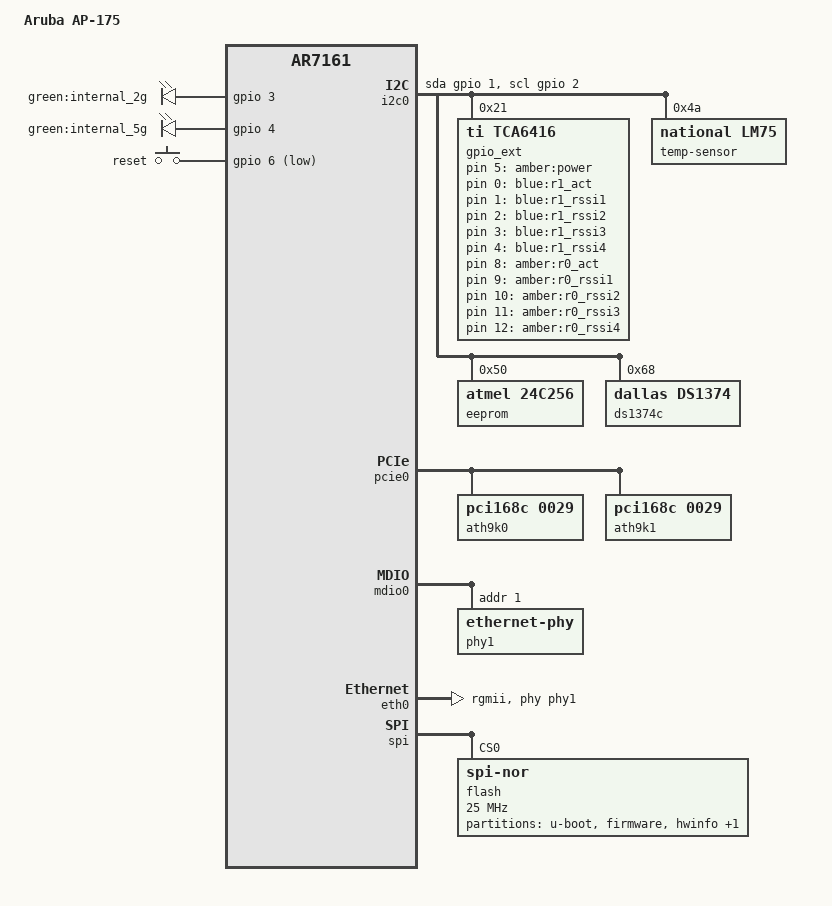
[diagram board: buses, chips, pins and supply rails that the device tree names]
// SPDX-License-Identifier: GPL-2.0-or-later OR MIT

#include "ar7100.dtsi"

#include <dt-bindings/gpio/gpio.h>
#include <dt-bindings/input/input.h>

/ {
	compatible = "aruba,ap-175", "qca,ar7161";
	model = "Aruba AP-175";

	chosen {
		bootargs = "console=ttyS0,115200";
	};

	aliases {
		led-boot = &led_power_amber;
		led-failsafe = &led_power_amber;
		led-upgrade = &led_power_amber;
		label-mac-device = &eth0;
	};

	leds {
		compatible = "gpio-leds";

		/* These internal LEDs cannot be seen when case is closed */
		internal_2g_green {
			label = "green:internal_2g";
			gpios = <&gpio 3 GPIO_ACTIVE_HIGH>;
		};

		internal_5g_green {
			label = "green:internal_5g";
			gpios = <&gpio 4 GPIO_ACTIVE_HIGH>;
		};

        /* These external LEDs are visible from the bottom panel */

		led_power_amber: power_amber {
			label = "amber:power";
			gpios = <&gpio_ext 5 GPIO_ACTIVE_HIGH>;
			panic-indicator;
		};

		r1_act_blue {
			label = "blue:r1_act";
			gpios = <&gpio_ext 0 GPIO_ACTIVE_HIGH>;
			linux,default-trigger = "phy1tpt";
		};

		r1_rssi1_blue {
			label = "blue:r1_rssi1";
			gpios = <&gpio_ext 1 GPIO_ACTIVE_HIGH>;
		};

		r1_rssi2_blue {
			label = "blue:r1_rssi2";
			gpios = <&gpio_ext 2 GPIO_ACTIVE_HIGH>;
		};

		r1_rssi3_blue {
			label = "blue:r1_rssi3";
			gpios = <&gpio_ext 3 GPIO_ACTIVE_HIGH>;
		};

		r1_rssi4_blue {
			label = "blue:r1_rssi4";
			gpios = <&gpio_ext 4 GPIO_ACTIVE_HIGH>;
		};

		r0_act_amber {
			label = "amber:r0_act";
			gpios = <&gpio_ext 8 GPIO_ACTIVE_HIGH>;
			linux,default-trigger = "phy0tpt";
		};

		r0_rssi1_amber {
			label = "amber:r0_rssi1";
			gpios = <&gpio_ext 9 GPIO_ACTIVE_HIGH>;
		};

		r0_rssi2_amber {
			label = "amber:r0_rssi2";
			gpios = <&gpio_ext 10 GPIO_ACTIVE_HIGH>;
		};

		r0_rssi3_amber {
			label = "amber:r0_rssi3";
			gpios = <&gpio_ext 11 GPIO_ACTIVE_HIGH>;
		};

		r0_rssi4_amber {
			label = "amber:r0_rssi4";
			gpios = <&gpio_ext 12 GPIO_ACTIVE_HIGH>;
		};
	};

	keys {
		compatible = "gpio-keys";

		reset {
			label = "reset";
			linux,code = <KEY_RESTART>;
			gpios = <&gpio 6 GPIO_ACTIVE_LOW>;
		};
	};

	i2c0: i2c {
		compatible = "i2c-gpio";
		i2c-gpio,delay-us = <10>;
		i2c-gpio,timeout-ms = <1>;
		sda-gpios = <&gpio 1 (GPIO_ACTIVE_HIGH|GPIO_OPEN_DRAIN)>;
		scl-gpios = <&gpio 2 (GPIO_ACTIVE_HIGH|GPIO_OPEN_DRAIN)>;

		#address-cells = <1>;
		#size-cells = <0>;
	};
};

&pcie0 {
	status = "okay";

	ath9k0: wifi@0,11 {
		compatible = "pci168c,0029";
		nvmem-cells = <&macaddr_hwinfo_1c>;
		nvmem-cell-names = "mac-address";
		mac-address-increment = <1>;
		reg = <0x8800 0 0 0 0>;
		#gpio-cells = <2>;
		gpio-controller;
	};

	ath9k1: wifi@0,12 {
		compatible = "pci168c,0029";
		nvmem-cells = <&macaddr_hwinfo_1c>;
		nvmem-cell-names = "mac-address";
		mac-address-increment = <2>;
		reg = <0x9000 0 0 0 0>;
		#gpio-cells = <2>;
		gpio-controller;
	};
};

&mdio0 {
	status = "okay";

	phy1: ethernet-phy@1 {
		reg = <0x1>;
	};
};

&eth0 {
	status = "okay";
	nvmem-cells = <&macaddr_hwinfo_1c>;
	nvmem-cell-names = "mac-address";

	phy-mode = "rgmii";
	phy-handle = <&phy1>;
};

&spi {
	status = "okay";

	flash@0 {
		compatible = "jedec,spi-nor";
		reg = <0>;
		spi-max-frequency = <25000000>;

		partitions {
			compatible = "fixed-partitions";
			#address-cells = <1>;
			#size-cells = <1>;

			partition@0 {
				label = "u-boot";
				reg = <0x000000 0x40000>;
				read-only;
			};

			partition@40000 {
				label = "firmware";
				reg = <0x40000 0xfa0000>;
				compatible = "denx,uimage";
			};

			hwinfo: partition@fe0000 {
				label = "hwinfo";
				reg = <0xfe0000 0x10000>;
				read-only;
			};

			partition@ff0000 {
				label = "u-boot-env";
				reg = <0xff0000 0x10000>;
				read-only;
			};
		};
	};
};

&hwinfo {
	compatible = "nvmem-cells";
	#address-cells = <1>;
	#size-cells = <1>;

	macaddr_hwinfo_1c: macaddr@1c {
		reg = <0x1c 0x6>;
	};
};

&i2c0 {
	gpio_ext: gpio@21 {
		status = "okay";

		compatible = "ti,tca6416";
		reg = <0x21>;

		#address-cells = <1>;
		#size-cells = <0>;

		gpio-controller;
		#gpio-cells = <2>;
	};

	temp-sensor@4a {
		 compatible = "national,lm75";
		 reg = <0x4a>;
	};

	eeprom@50 { /* 24lc2561 */
		compatible = "atmel,24c256","at24";
		#address-cells = <1>;
		#size-cells = <0>;
		reg = <0x50>;
		size = <256>;
	};

	ds1374c: rtc@68 {
		status = "okay";

		compatible = "dallas,ds1374";
		reg = <0x68>;
	};
};
